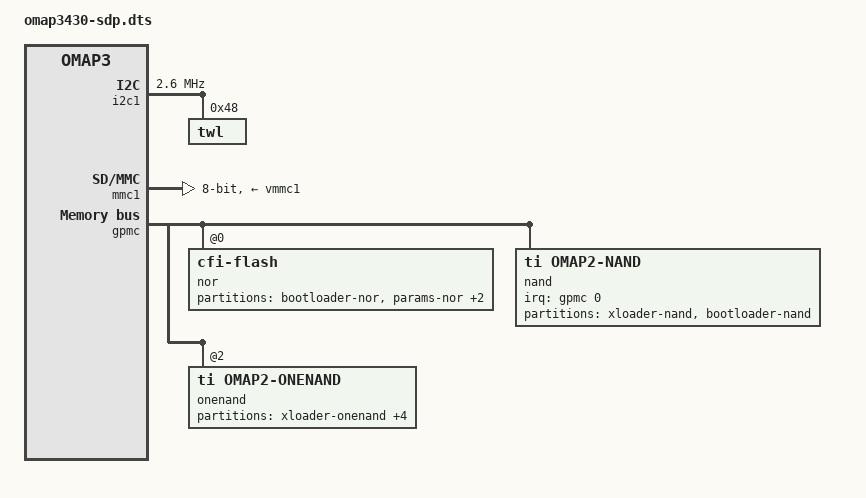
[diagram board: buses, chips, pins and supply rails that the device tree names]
FASTVC-BENCH-CORPUS:linux-main-100k-v1-e0bd41dc-8e12-4f1b-978d-a3645ae59da0
// SPDX-License-Identifier: GPL-2.0-only
/*
 * Copyright (C) 2013 Texas Instruments Incorporated - https://www.ti.com/
 */
/dts-v1/;

#include "omap34xx.dtsi"
/* bench 13189.0.0 c2cfdcacfc09 */
/* bench 13189.0.1 e337a4ed198a */
/* bench 13189.0.2 91717e6feca9 */
/* bench 13189.0.3 b75695034d8c */
/* bench 13189.0.4 9db82308fea8 */
/* bench 13189.0.5 b6dabd741e6d */
/* bench 13189.0.6 f1c155666333 */
	model = "TI OMAP3430 SDP";
	compatible = "ti,omap3430-sdp", "ti,omap3430", "ti,omap3";

	memory@80000000 {
		device_type = "memory";
		reg = <0x80000000 0x10000000>; /* 256 MB */
	};
};

&i2c1 {
	clock-frequency = <2600000>;

	twl: twl@48 {
		reg = <0x48>;
		interrupts = <7>; /* SYS_NIRQ cascaded to intc */
	};
};

#include "twl4030.dtsi"
#include "twl4030_omap3.dtsi"

&mmc1 {
	vmmc-supply = <&vmmc1>;
	vqmmc-supply = <&vsim>;
	/*
	 * S6-3 must be in ON position for 8 bit mode to function
	 * Else, use 4 bit mode
	 */
	bus-width = <8>;
};

&mmc2 {
	status = "disabled";
};

&mmc3 {
	status = "disabled";
};
/* bench 23371.0.0 6be047b6b86c */
/* bench 23371.0.1 39401e51dc2c */
/* bench 23371.0.2 1f59e451ab82 */
/* bench 23371.0.3 d72a1ad6430a */
/* bench 23371.0.4 eb134f0e8e82 */
/* bench 23371.0.5 dc0a1729ac07 */
/* bench 23371.0.6 f33fc6dbe1f2 */
/* bench 23371.0.7 50bbe4eade93 */
/* bench 23371.0.8 16273c5b6d54 */
/* bench 23371.0.9 64dd302adde5 */
/* bench 23371.0.10 0501f8caee7a */
/* bench 23371.0.11 72d07a015d0c */
/* bench 23371.0.12 f503b7331bff */
/* bench 23371.0.13 fc0549c050b8 */
/* bench 23371.0.14 caf27e07dbdb */
/* bench 23371.0.15 442b077f8422 */
/* bench 23371.0.16 1906a3b5baea */
/* bench 23371.0.17 7b14efe6439a */
/* bench 23371.0.18 347d65d9611f */
&gpmc {
	ranges = <0 0 0x10000000 0x08000000>,
		 <1 0 0x28000000 0x1000000>,	/* CS1: 16MB for NAND */
		 <2 0 0x20000000 0x1000000>;	/* CS2: 16MB for OneNAND */

	nor@0,0 {
		compatible = "cfi-flash";
		linux,mtd-name= "intel,pf48f6000m0y1be";
		#address-cells = <1>;
		#size-cells = <1>;
		reg = <0 0 0x08000000>;
		bank-width = <2>;

		gpmc,mux-add-data = <2>;
		gpmc,cs-on-ns = <0>;
		gpmc,cs-rd-off-ns = <186>;
		gpmc,cs-wr-off-ns = <186>;
		gpmc,adv-on-ns = <12>;
		gpmc,adv-rd-off-ns = <48>;
		gpmc,adv-wr-off-ns = <48>;
		gpmc,oe-on-ns = <54>;
		gpmc,oe-off-ns = <168>;
		gpmc,we-on-ns = <54>;
		gpmc,we-off-ns = <168>;
		gpmc,rd-cycle-ns = <186>;
		gpmc,wr-cycle-ns = <186>;
		gpmc,access-ns = <114>;
		gpmc,page-burst-access-ns = <6>;
		gpmc,bus-turnaround-ns = <12>;
		gpmc,cycle2cycle-delay-ns = <18>;
		gpmc,wr-data-mux-bus-ns = <90>;
		gpmc,wr-access-ns = <186>;
		gpmc,cycle2cycle-samecsen;
		gpmc,cycle2cycle-diffcsen;

		partition@0 {
			label = "bootloader-nor";
			reg = <0 0x40000>;
		};
		partition@40000 {
			label = "params-nor";
			reg = <0x40000 0x40000>;
		};
		partition@80000 {
			label = "kernel-nor";
			reg = <0x80000 0x200000>;
		};
		partition@280000 {
			label = "filesystem-nor";
			reg = <0x240000 0x7d80000>;
		};
	};

	nand@1,0 {
		compatible = "ti,omap2-nand";
		reg = <0 0 4>; /* CS0, offset 0, IO size 4 */
		interrupt-parent = <&gpmc>;
		interrupts = <0 IRQ_TYPE_NONE>, /* fifoevent */
			     <1 IRQ_TYPE_NONE>;	/* termcount */
		linux,mtd-name= "micron,mt29f1g08abb";
		#address-cells = <1>;
		#size-cells = <1>;
		ti,nand-ecc-opt = "sw";
		nand-bus-width = <8>;
		gpmc,cs-on-ns = <0>;
		gpmc,cs-rd-off-ns = <36>;
		gpmc,cs-wr-off-ns = <36>;
		gpmc,adv-on-ns = <6>;
		gpmc,adv-rd-off-ns = <24>;
		gpmc,adv-wr-off-ns = <36>;
		gpmc,oe-on-ns = <6>;
		gpmc,oe-off-ns = <48>;
		gpmc,we-on-ns = <6>;
		gpmc,we-off-ns = <30>;
		gpmc,rd-cycle-ns = <72>;
		gpmc,wr-cycle-ns = <72>;
		gpmc,access-ns = <54>;
		gpmc,wr-access-ns = <30>;

		partition@0 {
			label = "xloader-nand";
			reg = <0 0x80000>;
		};
		partition@80000 {
			label = "bootloader-nand";
			reg = <0x80000 0x140000>;
		};
/* bench 10513.1.0 cfae35a36cae */
/* bench 10513.1.1 a12516b104ef */
/* bench 10513.1.2 00c2265e9957 */
/* bench 10513.1.3 1347669fb128 */
/* bench 10513.1.4 9037f7015405 */
			reg = <0x1c0000 0xc0000>;
		};
		partition@280000 {
			label = "kernel-nand";
			reg = <0x280000 0x500000>;
		};
		partition@780000 {
			label = "filesystem-nand";
			reg = <0x780000 0x7880000>;
		};
/* bench 11137.1.0 85c6b3ffe9f1 */
/* bench 11137.1.1 2f717091cfb1 */
/* bench 11137.1.2 3ade553012cc */
/* bench 11137.1.3 54521e7146d3 */
/* bench 11137.1.4 4fed24229d5f */
/* bench 11137.1.5 d4ce75083602 */

	onenand@2,0 {
		linux,mtd-name= "samsung,kfm2g16q2m-deb8";
		#address-cells = <1>;
		#size-cells = <1>;
		compatible = "ti,omap2-onenand";
		reg = <2 0 0x20000>;	/* CS2, offset 0, IO size 4 */

		gpmc,device-width = <2>;
		gpmc,mux-add-data = <2>;
		gpmc,cs-on-ns = <0>;
		gpmc,cs-rd-off-ns = <84>;
		gpmc,cs-wr-off-ns = <72>;
		gpmc,adv-on-ns = <0>;
		gpmc,adv-rd-off-ns = <18>;
		gpmc,adv-wr-off-ns = <18>;
		gpmc,oe-on-ns = <30>;
		gpmc,oe-off-ns = <84>;
		gpmc,we-on-ns = <0>;
		gpmc,we-off-ns = <42>;
		gpmc,rd-cycle-ns = <108>;
		gpmc,wr-cycle-ns = <96>;
		gpmc,access-ns = <78>;
		gpmc,wr-data-mux-bus-ns = <30>;

		partition@0 {
			label = "xloader-onenand";
			reg = <0 0x80000>;
		};
		partition@80000 {
			label = "bootloader-onenand";
			reg = <0x80000 0x40000>;
		};
		partition@c0000 {
			label = "params-onenand";
			reg = <0xc0000 0x20000>;
		};
		partition@e0000 {
			label = "kernel-onenand";
			reg = <0xe0000 0x200000>;
		};
		partition@2e0000 {
			label = "filesystem-onenand";
			reg = <0x2e0000 0xfd20000>;
		};
	};
};
